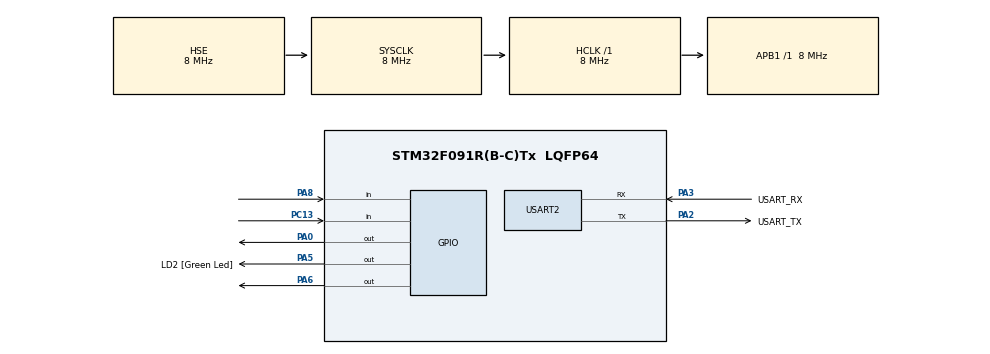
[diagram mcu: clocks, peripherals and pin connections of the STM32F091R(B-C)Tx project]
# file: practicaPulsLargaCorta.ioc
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Mcu.Family=STM32F0
Mcu.Name=STM32F091R(B-C)Tx
Mcu.Package=LQFP64
PA0.Signal=GPIO_Output
PA13.GPIO_Label=TMS
PA13.Mode=Serial_Wire
PA13.Signal=SYS_SWDIO
PA14.GPIO_Label=TCK
PA14.Mode=Serial_Wire
PA14.Signal=SYS_SWCLK
PA2.GPIO_Label=USART_TX
PA2.GPIO_Mode=GPIO_MODE_AF_PP
PA2.GPIO_PuPd=GPIO_NOPULL
PA2.GPIO_Speed=GPIO_SPEED_FREQ_LOW
PA2.Mode=Asynchronous
PA2.Signal=USART2_TX
PA3.GPIO_Label=USART_RX
PA3.GPIO_Mode=GPIO_MODE_AF_PP
PA3.GPIO_PuPd=GPIO_NOPULL
PA3.GPIO_Speed=GPIO_SPEED_FREQ_LOW
PA3.Mode=Asynchronous
PA3.Signal=USART2_RX
PA5.GPIO_Label=LD2 [Green Led]
PA5.GPIO_Mode=GPIO_MODE_OUTPUT_PP
PA5.GPIO_PuPd=GPIO_NOPULL
PA5.GPIO_Speed=GPIO_SPEED_FREQ_LOW
PA5.Signal=GPIO_Output
PA6.Signal=GPIO_Output
PA8.GPIO_PuPd=GPIO_PULLUP
PA8.Signal=GPIO_Input
PC13.Signal=GPIO_Input
PC14OSC32_IN.Mode=LSE-External-Oscillator
PC14OSC32_IN.Signal=RCC_OSC32_IN
PC15OSC32_OUT.Mode=LSE-External-Oscillator
PC15OSC32_OUT.Signal=RCC_OSC32_OUT
PF0-OSC_IN.Mode=HSE-External-Clock-Source
PF0-OSC_IN.Signal=RCC_OSC_IN
PF1-OSC_OUT.Signal=RCC_OSC_OUT
ProjectManager.HeapSize=0x200
ProjectManager.StackSize=0x400
ProjectManager.TargetToolchain=CMake
RCC.AHBFreq_Value=8000000
RCC.APB1Freq_Value=8000000
RCC.APB1TimFreq_Value=8000000
RCC.FLatency-AdvancedSettings=FLASH_LATENCY_0
RCC.HCLKFreq_Value=8000000
RCC.PLLDivider=RCC_PREDIV_DIV2
RCC.PLLMUL=RCC_PLL_MUL12
RCC.PREFETCH_ENABLE-AdvancedSettings=1
RCC.SYSCLKFreq_VALUE=8000000
RCC.SYSCLKSource=RCC_SYSCLKSOURCE_HSE
USART2.VirtualMode=VM_ASYNC
USART2.VirtualMode-Asynchronous=VM_ASYNC
board=NUCLEO-F091RC

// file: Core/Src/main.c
/* USER CODE BEGIN Header */
/**
  ******************************************************************************
  * @file           : main.c
  * @brief          : Main program body
  ******************************************************************************
  * @attention
  *
  * Copyright (c) 2026 STMicroelectronics.
  * All rights reserved.
  *
  * This software is licensed under terms that can be found in the LICENSE file
  * in the root directory of this software component.
  * If no LICENSE file comes with this software, it is provided AS-IS.
  *
  ******************************************************************************
  */
/* USER CODE END Header */
#include "main.h"
#include "stm32f0xx_hal.h"
#include <stdint.h>

UART_HandleTypeDef huart2;

void SystemClock_Config(void);
static void MX_GPIO_Init(void);
static void MX_USART2_UART_Init(void);
/* USER CODE BEGIN PFP */
void mostrarContador(uint8_t contador){
  switch(contador){
    case 0:
      GPIOA->BSRR = (1UL << 16) | (1UL << 21) | (1UL << 22);
      break;
    case 1:
      GPIOA->BSRR = (1UL << 16) | (1UL << 21) | (1UL << 6);
      break;
    case 2:
      GPIOA->BSRR = (1UL << 16) | (1UL << 5) | (1UL << 22);
      break;
    case 3:
      GPIOA->BSRR = (1UL << 16) | (1UL << 5) | (1UL << 6);
      break;
    case 4:
      GPIOA->BSRR = (1UL << 0) | (1UL << 21) | (1UL << 22);
      break;
    case 5:
      GPIOA->BSRR = (1UL << 0) | (1UL << 21) | (1UL << 6);
      break;
    case 6:
      GPIOA->BSRR = (1UL << 0) | (1UL << 5) | (1UL << 22);
      break;
    case 7:
      GPIOA->BSRR = (1UL << 0) | (1UL << 5) | (1UL << 6);
      break;
    default:
      GPIOA->BSRR = (1UL << 16) | (1UL << 21) | (1UL << 22);
      break;
  }
}
/* USER CODE END PFP */

int main(void)
{

  /* USER CODE BEGIN 1 */
  uint8_t contador = 0;
  mostrarContador(contador);
  /* USER CODE END 1 */

  /* MCU Configuration--------------------------------------------------------*/

  /* Reset of all peripherals, Initializes the Flash interface and the Systick. */
  HAL_Init();

  /* Configure the system clock */
  SystemClock_Config();

  /* Initialize all configured peripherals */
  MX_GPIO_Init();
  MX_USART2_UART_Init();

  /* Infinite loop */
  /* USER CODE BEGIN WHILE */
  while (1)
  {
      mostrarContador(contador);//Mientras no se pulsa el botón nos quedamos ahí
      while((GPIOC->IDR & (1UL << 13)) != 0);
      if((GPIOC->IDR & (1UL << 13)) == 0){//Se inicia la secuencia cuando se pulsa el botón
        HAL_Delay(800);
        if((GPIOC->IDR & (1UL << 13)) == 0){//Si pasan mas de 0,8s y sigue pulsado se resetea
          contador = 0;
          while ((GPIOC->IDR & (1UL << 13)) == 0); //Esperamos a que se suelte el botón
        }else{
          contador++;
        }
        if(contador >= 8){
          contador = 0;
        }
      }
    /* USER CODE END WHILE */

}
}

void SystemClock_Config(void)
{
  RCC_OscInitTypeDef RCC_OscInitStruct = {0};
  RCC_ClkInitTypeDef RCC_ClkInitStruct = {0};
  RCC_PeriphCLKInitTypeDef PeriphClkInit = {0};

  /** Initializes the RCC Oscillators according to the specified parameters
  * in the RCC_OscInitTypeDef structure.
  */
  RCC_OscInitStruct.OscillatorType = RCC_OSCILLATORTYPE_HSE;
  RCC_OscInitStruct.HSEState = RCC_HSE_BYPASS;
  RCC_OscInitStruct.PLL.PLLState = RCC_PLL_NONE;
  if (HAL_RCC_OscConfig(&RCC_OscInitStruct) != HAL_OK)
  {
    Error_Handler();
  }

  /** Initializes the CPU, AHB and APB buses clocks
  */
  RCC_ClkInitStruct.ClockType = RCC_CLOCKTYPE_HCLK|RCC_CLOCKTYPE_SYSCLK
                              |RCC_CLOCKTYPE_PCLK1;
  RCC_ClkInitStruct.SYSCLKSource = RCC_SYSCLKSOURCE_HSE;
  RCC_ClkInitStruct.AHBCLKDivider = RCC_SYSCLK_DIV1;
  RCC_ClkInitStruct.APB1CLKDivider = RCC_HCLK_DIV1;

  if (HAL_RCC_ClockConfig(&RCC_ClkInitStruct, FLASH_LATENCY_0) != HAL_OK)
  {
    Error_Handler();
  }
  PeriphClkInit.PeriphClockSelection = RCC_PERIPHCLK_USART2;
  PeriphClkInit.Usart2ClockSelection = RCC_USART2CLKSOURCE_PCLK1;
  if (HAL_RCCEx_PeriphCLKConfig(&PeriphClkInit) != HAL_OK)
  {
    Error_Handler();
  }
}

static void MX_USART2_UART_Init(void)
{

  huart2.Instance = USART2;
  huart2.Init.BaudRate = 115200;
  huart2.Init.WordLength = UART_WORDLENGTH_8B;
  huart2.Init.StopBits = UART_STOPBITS_1;
  huart2.Init.Parity = UART_PARITY_NONE;
  huart2.Init.Mode = UART_MODE_TX_RX;
  huart2.Init.HwFlowCtl = UART_HWCONTROL_NONE;
  huart2.Init.OverSampling = UART_OVERSAMPLING_16;
  huart2.Init.OneBitSampling = UART_ONE_BIT_SAMPLE_DISABLE;
  huart2.AdvancedInit.AdvFeatureInit = UART_ADVFEATURE_NO_INIT;
  if (HAL_UART_Init(&huart2) != HAL_OK)
  {
    Error_Handler();
  }

}

static void MX_GPIO_Init(void)
{
  GPIO_InitTypeDef GPIO_InitStruct = {0};

  /* GPIO Ports Clock Enable */
  __HAL_RCC_GPIOC_CLK_ENABLE();
  __HAL_RCC_GPIOF_CLK_ENABLE();
  __HAL_RCC_GPIOA_CLK_ENABLE();

  /*Configure GPIO pin Output Level */
  HAL_GPIO_WritePin(GPIOA, GPIO_PIN_0|LD2_Pin|GPIO_PIN_6, GPIO_PIN_RESET);

  /*Configure GPIO pin : PC13 */
  GPIO_InitStruct.Pin = GPIO_PIN_13;
  GPIO_InitStruct.Mode = GPIO_MODE_INPUT;
  GPIO_InitStruct.Pull = GPIO_NOPULL;
  HAL_GPIO_Init(GPIOC, &GPIO_InitStruct);

  /*Configure GPIO pins : PA0 LD2_Pin PA6 */
  GPIO_InitStruct.Pin = GPIO_PIN_0|LD2_Pin|GPIO_PIN_6;
  GPIO_InitStruct.Mode = GPIO_MODE_OUTPUT_PP;
  GPIO_InitStruct.Pull = GPIO_NOPULL;
  GPIO_InitStruct.Speed = GPIO_SPEED_FREQ_LOW;
  HAL_GPIO_Init(GPIOA, &GPIO_InitStruct);

  /*Configure GPIO pin : PA8 */
  GPIO_InitStruct.Pin = GPIO_PIN_8;
  GPIO_InitStruct.Mode = GPIO_MODE_INPUT;
  GPIO_InitStruct.Pull = GPIO_PULLUP;
  HAL_GPIO_Init(GPIOA, &GPIO_InitStruct);

}

void Error_Handler(void)
{
  __disable_irq();
  while (1)
  {
  }
}
